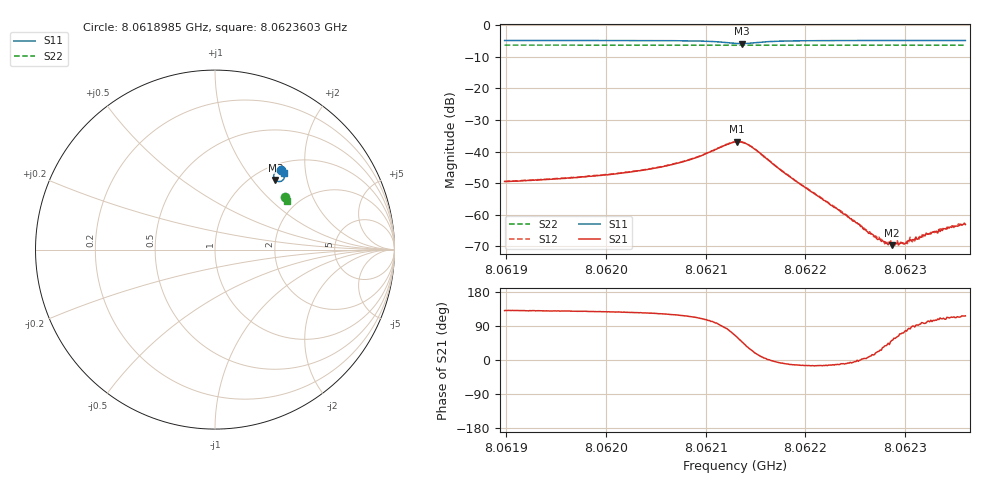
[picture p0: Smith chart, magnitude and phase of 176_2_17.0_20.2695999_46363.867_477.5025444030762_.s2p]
#  HZ  S  RI  R  50.00
! Rohde & Schwarz Vector Network Analyzer
! Rohde-Schwarz,ZNB20-2Port,1311601062101988,3.16
! Created: UTC 3/20/2024, 10:59:57 PM
! freq[Hz]  re:S11  im:S11  re:S21  im:S21  re:S12  im:S12  re:S22  im:S22
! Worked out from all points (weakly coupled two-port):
!   401 points, 8.0618985 GHz to 8.0623603 GHz, reference 50 ohm
!   highest |S21| = -36.86 dB at 8.0621317 GHz (marker M1); lowest = -69.6 dB at 8.0622864 GHz (marker M2)
!   lowest |S11| = -5.8 dB at 8.0621363 GHz (marker M3), VSWR 3.11, Z = 62.3 + j65.6 ohm
!   |S11| at or under -10 dB: nowhere
!   |S22| runs from -6.3 to -6.3 dB; largest |S21 - S12| = 0.001
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8.06189853e9  0.3697 0.4414  -0.00217 0.00256  -0.00205 0.0027  0.3874 0.2937
8.06197587e9  0.3759 0.4355  -0.00249 0.00312  -0.00229 0.00324  0.3902 0.2899
8.06201628e9  0.3797 0.4311  -0.0027 0.0037  -0.00252 0.00387  0.3915 0.2878
8.06205322e9  0.3838 0.4249  -0.003 0.00474  -0.00275 0.00495  0.3928 0.2858
8.06208554e9  0.3873 0.4138  -0.0031 0.00686  -0.00271 0.00714  0.3938 0.2837
8.06212941e9  0.3529 0.3793  0.00602 0.0129  0.00677 0.0126  0.3931 0.2809
8.06213172e9  0.347 0.3808  0.00729 0.0124  0.008 0.0119  0.3929 0.2808
8.06213634e9  0.3361 0.3875  0.00938 0.0105  0.0102 0.00998  0.3927 0.2812
8.06214903e9  0.3282 0.4168  0.0103 0.00358  0.0105 0.00302  0.3932 0.2818
8.06217789e9  0.3525 0.439  0.00467 -0.000721  0.00471 -0.00103  0.3955 0.281
8.06220675e9  0.3653 0.4387  0.00219 -0.000574  0.00218 -0.000724  0.397 0.2797
8.06223215e9  0.3714 0.4365  0.00119 -0.000243  0.00118 -0.000284  0.398 0.2783
8.06226794e9  0.3769 0.4337  0.000464 0.00011  0.000447 7.57e-05  0.3992 0.2764
8.06227948e9  0.3784 0.4328  0.000297 0.000227  0.000308 0.000156  0.3996 0.2758
8.0622841e9  0.3789 0.4326  0.00027 0.000233  0.000274 0.000214  0.3998 0.2754
8.06228641e9  0.3791 0.4323  0.000205 0.000258  0.00023 0.000219  0.4001 0.2754
8.06228872e9  0.3793 0.4323  0.000183 0.000289  0.000212 0.000281  0.4 0.2752
8.06230141e9  0.3806 0.4314  8.59e-05 0.000348  7.44e-05 0.00037  0.4003 0.2745
8.06231411e9  0.3818 0.4305  -3.09e-05 0.000437  -3.13e-05 0.000413  0.4008 0.2739
8.06231988e9  0.3823 0.4301  -5.39e-05 0.000459  -5.46e-05 0.000458  0.4011 0.2735
8.06233605e9  0.3838 0.4291  -0.000185 0.000548  -0.000162 0.000566  0.4017 0.2727
8.06236029e9  0.3857 0.4275  -0.000311 0.000624  -0.00029 0.000653  0.4025 0.2716
